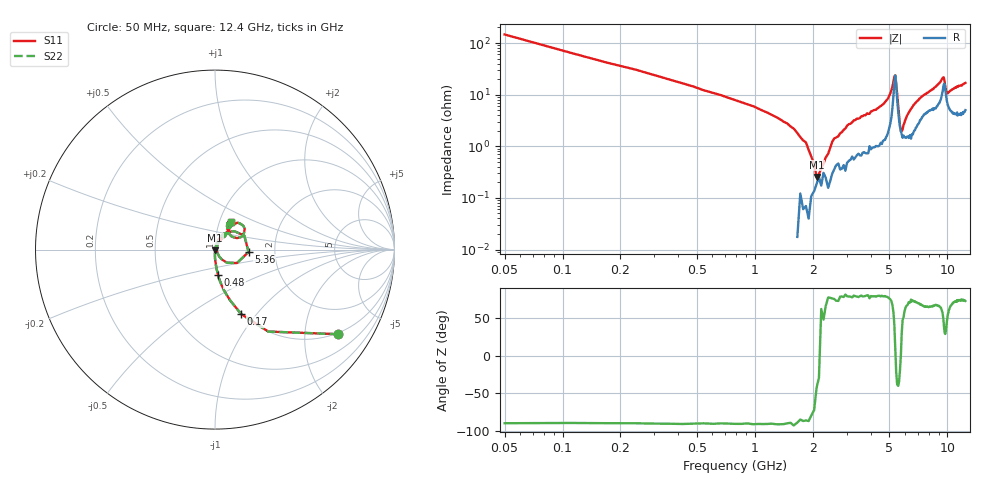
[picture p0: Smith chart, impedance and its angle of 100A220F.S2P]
!  American Technical Ceramics  Date:  3/13/98
!  One Norden Lane
!  Huntington Station,  NY.  11746-2102
!  Tel:  (516) 547-5700  Fax:  (516) 547-5748
!  Part Number  100A220F
!  Description: Porcelain, High Q, Low ESR
!  Application: Bypass, Coupling, Timing, Feedback
!  Tuning, Impedance Match, Blocking
# GHZ S DB R 50
! Freq  |S11|  S11 Ph  |S21|  S21 Ph  |S12|  S12 Ph  |S22|  S22 Ph
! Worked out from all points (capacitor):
!   201 points, 50 MHz to 12.4 GHz, reference 50 ohm
!   read as one part in series: C = 22.3 pF near 110 MHz
!   lowest |Z| = 254 mohm at 2.09 GHz (marker M1)
!   series resonance near 2.168 GHz, so ESL is about 240 pH
!   S11 on the Smith chart (normalised r, x): 50 MHz: 0.96, -2.94; 170 MHz: 0.99, -0.84; 480 MHz: 0.99, -0.29; 5.36 GHz: 1.46, -0.04; 12.4 GHz: 1.14, +0.37
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0.05  -1.60 -34.5  -4.91 55.7  -4.91 55.7  -1.60 -34.5
0.11  -5.28 -57.0  -1.51 32.8  -1.51 32.8  -5.28 -57.0
0.17  -8.24 -68.0  -0.71 22.5  -0.71 22.5  -8.24 -68.0
0.48  -16.90 -83.2  -0.08 8.1  -0.08 8.1  -16.90 -83.2
1.66  -33.40 -90.7  -0.01 0.8  -0.01 0.8  -33.40 -90.7
1.9  -38.68 -85.5  0.00 0.3  0.00 0.3  -38.68 -85.5
2.09  -46.54 -72.5  -0.02 -0.1  -0.02 -0.1  -46.54 -72.5
2.15  -49.31 -62.3  -0.03 -0.0  -0.03 -0.0  -49.31 -62.3
2.27  -50.81 23.5  -0.03 -0.3  -0.03 -0.3  -50.81 23.5
2.58  -38.94 69.6  -0.03 -1.0  -0.03 -1.0  -38.94 69.6
2.89  -34.17 73.0  -0.03 -1.2  -0.03 -1.2  -34.17 73.0
4.19  -27.47 70.5  -0.07 -3.3  -0.07 -3.3  -27.47 70.5
4.93  -22.79 68.0  -0.17 -5.5  -0.17 -5.5  -22.79 68.0
5.36  -14.54 -4.0  -1.87 -3.4  -1.87 -3.4  -14.54 -4.0
5.85  -39.45 -7.8  -0.16 -1.9  -0.16 -1.9  -39.45 -7.8
6.23  -31.97 59.8  -0.17 -3.1  -0.17 -3.1  -31.97 59.8
6.9  -24.48 60.1  -0.19 -4.6  -0.19 -4.6  -24.48 60.1
8.32  -17.82 54.8  -0.37 -5.9  -0.37 -5.9  -17.82 54.8
9.5  -13.72 39.8  -1.00 -8.0  -1.00 -8.0  -13.72 39.8
9.87  -18.59 39.0  -0.73 -2.7  -0.73 -2.7  -18.59 39.0
10.36  -17.17 60.2  -0.38 -4.6  -0.38 -4.6  -17.17 60.2
12.4  -14.90 59.7  -0.34 -7.8  -0.34 -7.8  -14.90 59.7
